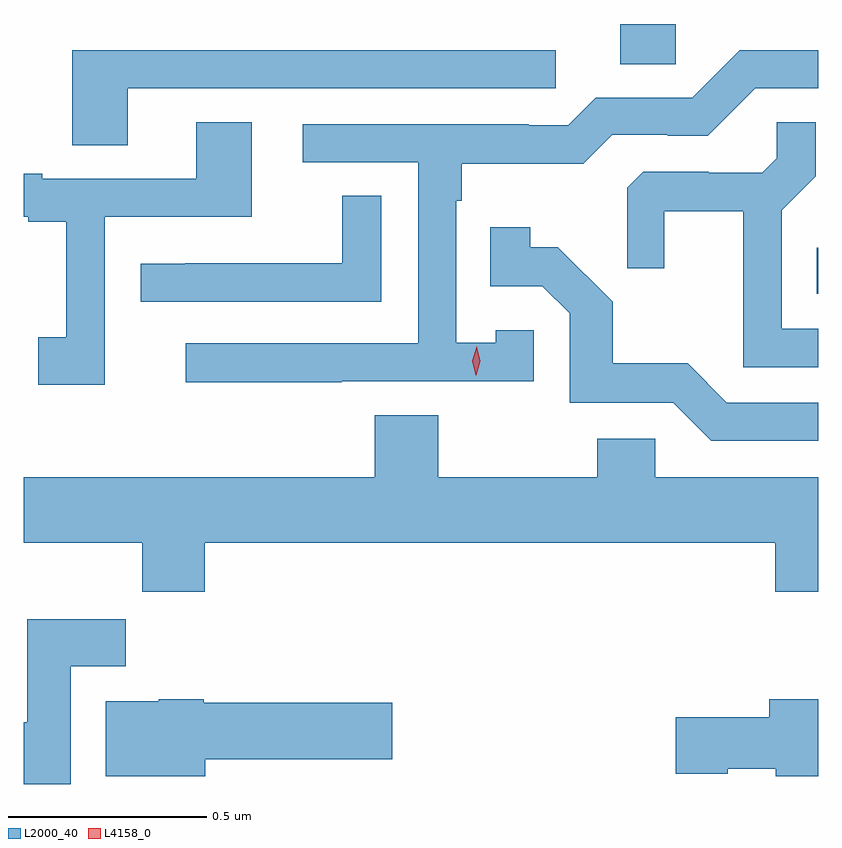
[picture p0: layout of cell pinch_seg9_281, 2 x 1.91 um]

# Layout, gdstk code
import gdstk
lib = gdstk.Library(unit=1e-6, precision=1e-09)
def R(c, l, rs):  # rectangles x0, y0, x1, y1
    for r in rs: c.add(gdstk.rectangle(r[:2], r[2:], *l))
def P(c, l, *ps):  # polygons
    for p in ps: c.add(gdstk.Polygon(p, *l))
L2000_40 = (2000, 40)
L4158_0 = (4158, 0)

pinch_seg9_281 = lib.new_cell('pinch_seg9_281')
R(pinch_seg9_281, L2000_40, [(397.904,1185.059,397.907,1185.175), (397.409,1185.637,397.548,1185.738)])
P(pinch_seg9_281, L2000_40, [(396.707,1184.838),(397.191,1184.838),(397.191,1184.967),(397.095,1184.967),(397.095,1184.935),(396.996,1184.935),(396.996,1185.293),(397.009,1185.293),(397.009,1185.386),(397.316,1185.386),(397.389,1185.459),(397.528,1185.459),(397.528,1185.456),(397.629,1185.456),(397.749,1185.576),(397.907,1185.576),(397.907,1185.672),(397.71,1185.672),(397.59,1185.552),(397.347,1185.552),(397.278,1185.483),(397.178,1185.483),(397.178,1185.486),(396.609,1185.486),(396.609,1185.39),(396.9,1185.39),(396.9,1184.934),(396.315,1184.934),(396.315,1184.836),(396.707,1184.836)],
  [(396.169,1185.576),(397.246,1185.576),(397.246,1185.672),(396.029,1185.672),(396.029,1185.433),(396.169,1185.433)],
  [(396.111,1185.252),(396.481,1185.252),(396.481,1185.491),(396.341,1185.491),(396.341,1185.348),(395.953,1185.348),(395.953,1185.361),(395.907,1185.361),(395.907,1185.252),(395.918,1185.252),(395.918,1185.24),(396.014,1185.24),(396.014,1184.949),(395.943,1184.949),(395.943,1184.829),(396.111,1184.829)],
  [(397.907,1184.97),(397.815,1184.97),(397.815,1185.269),(397.901,1185.355),(397.901,1185.491),(397.803,1185.491),(397.803,1185.4),(397.766,1185.363),(397.632,1185.363),(397.632,1185.366),(397.467,1185.366),(397.426,1185.325),(397.426,1185.123),(397.52,1185.123),(397.52,1185.266),(397.718,1185.266),(397.718,1184.874),(397.907,1184.874)],
  [(396.807,1185.305),(396.709,1185.305),(396.709,1185.135),(396.313,1185.135),(396.313,1185.134),(396.201,1185.134),(396.201,1185.039),(396.807,1185.039)],
  [(397.907,1184.784),(397.677,1184.784),(397.579,1184.883),(397.39,1184.883),(397.39,1185.038),(397.252,1185.176),(397.182,1185.176),(397.182,1185.226),(397.081,1185.226),(397.081,1185.078),(397.212,1185.078),(397.281,1185.009),(397.281,1184.784),(397.542,1184.784),(397.638,1184.688),(397.907,1184.688)],
  [(396.362,1184.432),(397.799,1184.432),(397.799,1184.308),(397.907,1184.308),(397.907,1184.596),(397.497,1184.596),(397.497,1184.694),(397.351,1184.694),(397.351,1184.596),(396.951,1184.596),(396.951,1184.753),(396.791,1184.753),(396.791,1184.596),(395.907,1184.596),(395.907,1184.432),(396.205,1184.432),(396.205,1184.308),(396.362,1184.308)],
  [(396.025,1184.12),(396.164,1184.12),(396.164,1184.239),(395.915,1184.239),(395.915,1183.98),(395.907,1183.98),(395.907,1183.824),(396.025,1183.824)],
  [(397.907,1184.038),(397.784,1184.038),(397.784,1183.992),(397.548,1183.992),(397.548,1183.85),(397.68,1183.85),(397.68,1183.862),(397.8,1183.862),(397.8,1183.844),(397.907,1183.844)],
  [(396.364,1183.886),(396.835,1183.886),(396.835,1184.028),(396.36,1184.028),(396.36,1184.038),(396.246,1184.038),(396.246,1184.032),(396.113,1184.032),(396.113,1183.844),(396.364,1183.844)])
P(pinch_seg9_281, L4158_0, [(397.045,1184.853),(397.036,1184.89),(397.047,1184.925),(397.047,1184.926),(397.047,1184.925),(397.056,1184.889),(397.046,1184.853),(397.046,1184.853)])

lib.write_gds('pinch_seg9_281.gds')
